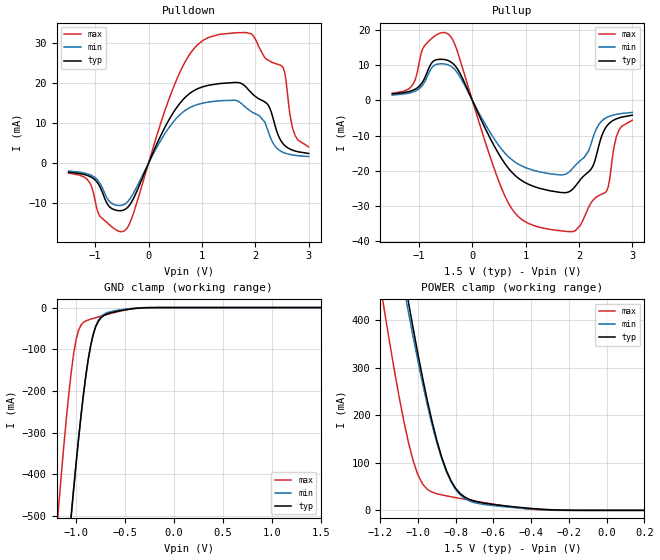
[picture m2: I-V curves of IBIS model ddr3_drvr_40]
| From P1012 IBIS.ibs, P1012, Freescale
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| * 8520 DDR3 Driver Model - 40 Ohm Setting *
[Model]   ddr3_drvr_40
Model_type I/O
Polarity   Non-Inverting
Vinl = 0.575V
Vinh = 0.925V
Vmeas = 0.75V
Cref = 0
Rref = 50
Vref = 0.75V
|   typ   min   max
C_comp   3.648330e-12   2.038670e-12   4.817820e-12
|   typ   min   max
[Voltage range]   1.5V   1.4V   1.6V
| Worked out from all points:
|   slope of the pulldown table from 0 to 0.225 V, typ, clamps not added: 33.1 ohm
|   slope of the pullup table from 0 to 0.225 V, typ, clamps not added: 30.3 ohm
|   GND clamp passes 1 mA (typ) near -0.33 V on its own axis
|   POWER clamp passes 1 mA (typ) near -0.28 V on its own axis
[Pulldown]
| Warnings regarding non-monotonicity are expected
| Voltage   I(typ)   I(min)   I(max)
-1.5V     -2.258mA   -1.956mA   -2.489mA
-1.1V     -3.315mA   -2.878mA   -4.935mA
-900mV    -6.212mA   -5.287mA   -13.42mA
-725mV    -10.99mA   -9.66mA    -15.49mA
-425mV    -11.42mA   -10.04mA   -16.6mA
600mV     15.19mA    12.26mA    23.1mA
1.325V    19.9mA     15.61mA    32.21mA
1.925V    17.62mA    12.9mA     32.35mA
2.2V      15.13mA    9.544mA    26.1mA
2.5V      5.232mA    2.832mA    24.29mA
2.7V      3.246mA    2.057mA    8.688mA
3V        2.432mA    1.653mA    4.1mA
[GND_clamp]
| Voltage   I(typ)   I(min)   I(max)
-1.5V     -1.83A     -1.803A    -1.463A
-1.2V     -918.5mA   -909.4mA   -538.8mA
-1.175V   -846mA     -838.3mA   -467.5mA
-1.05V    -500.5mA   -498.8mA   -155.7mA
-1V       -374.3mA   -374.5mA   -77.03mA
-925mV    -208.7mA   -210.1mA   -35.53mA
-875mV    -123mA     -123.8mA   -29.71mA
-825mV    -64.79mA   -64.04mA   -26.02mA
-775mV    -33.87mA   -31.49mA   -22.62mA
-675mV    -14.65mA   -11.59mA   -16.08mA
-300mV    -558.2uA   -260.8uA   -231.8uA
1.5V      1.426uA    9.416uA    6.886nA
[Pullup]
| Warnings regarding non-monotonicity are expected
| Voltage   I(typ)   I(min)   I(max)
-1.5V     1.812mA    1.473mA    1.978mA
-1.1V     2.927mA    2.406mA    4.821mA
-875mV    6.901mA    5.745mA    15.84mA
-725mV    11.14mA    9.776mA    17.99mA
-450mV    11.25mA    10.02mA    18.74mA
700mV     -19.72mA   -16.33mA   -29.79mA
1.65V     -26.14mA   -21.19mA   -37.03mA
1.925V    -24.49mA   -18.56mA   -37.06mA
2.225V    -19.55mA   -12.4mA    -29.13mA
2.525V    -7.227mA   -4.842mA   -25.54mA
2.7V      -5.272mA   -4.004mA   -10.28mA
3V        -4.225mA   -3.44mA    -5.653mA
[POWER_clamp]
| Warnings about POWER_clamp data never reaching
| zero are expected, and this is okay as long as
| the 0V data are around 10uA or less
| Voltage   I(typ)   I(min)   I(max)
-1.5V     1.587A     1.494A     1.288A
-1.2V     797.2mA    753.3mA    475mA
-1.175V   734.5mA    694.6mA    412.6mA
-1.1V     552mA      523.4mA    238.4mA
-1.05V    436.4mA    415mA      141.5mA
-1V       328.1mA    313.2mA    74.16mA
-950mV    230mA      220.8mA    43.98mA
-900mV    146.9mA    141.9mA    34.88mA
-850mV    84.43mA    81.66mA    30.52mA
-750mV    27.4mA     24.37mA    23.21mA
-375mV    3.278mA    2.36mA     1.604mA
200mV     0A         0A         0A
|   typ   min   max
[Ramp]
dV/dt_r   0.536878/2.15232E-10   0.461038/3.20165E-10   0.671656/8.51812E-11
dV/dt_f   0.493706/2.26258E-10   0.407757/3.36731E-10   0.639377/8.30845E-11
